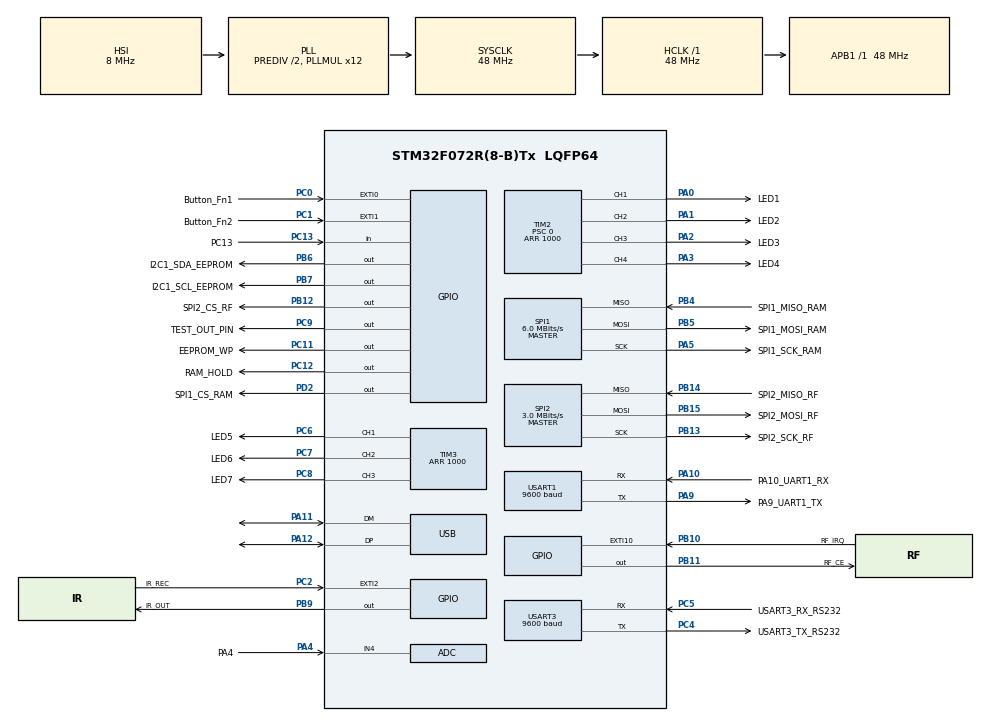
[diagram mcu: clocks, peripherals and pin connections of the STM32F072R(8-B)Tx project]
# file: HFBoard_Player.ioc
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Mcu.Family=STM32F0
Mcu.Name=STM32F072R(8-B)Tx
Mcu.Package=LQFP64
NVIC.EXTI0_1_IRQn=true\:3\:0\:true\:true\:true\:3
NVIC.EXTI2_3_IRQn=true\:0\:0\:true\:true\:true\:4
NVIC.EXTI4_15_IRQn=true\:2\:0\:true\:false\:true
NVIC.SPI2_IRQn=true\:0\:0\:false\:false\:true
NVIC.TIM16_IRQn=true\:1\:0\:true\:false\:true
NVIC.TIM17_IRQn=true\:3\:0\:true\:false\:true
NVIC.TIM6_DAC_IRQn=true\:0\:0\:true\:false\:true
NVIC.TIM7_IRQn=true\:3\:0\:true\:false\:true
NVIC.USART1_IRQn=true\:0\:0\:false\:true\:true\:2
NVIC.USART3_4_IRQn=true\:0\:0\:false\:true\:true\:1
NVIC.USB_IRQn=true\:0\:0\:false\:false\:true
PA0.GPIO_Label=LED1
PA0.Signal=S_TIM2_CH1_ETR
PA1.GPIO_Label=LED2
PA1.Signal=S_TIM2_CH2
PA10.GPIO_Label=PA10_UART1_RX
PA10.Mode=Asynchronous
PA10.Signal=USART1_RX
PA11.Mode=Device
PA11.Signal=USB_DM
PA12.Mode=Device
PA12.Signal=USB_DP
PA13.GPIO_Label=TMS
PA13.Signal=SYS_SWDIO
PA14.GPIO_Label=TCK
PA14.Signal=SYS_SWCLK
PA2.GPIO_Label=LED3
PA2.Signal=S_TIM2_CH3
PA3.GPIO_Label=LED4
PA3.Signal=S_TIM2_CH4
PA4.GPIO_Label=PA4
PA4.Mode=IN4
PA4.Signal=ADC_IN4
PA5.GPIO_Label=SPI1_SCK_RAM
PA5.Mode=Full_Duplex_Master
PA5.Signal=SPI1_SCK
PA6.GPIO_Label=USART3_CTS_RS232
PA6.Signal=USART3_CTS
PA9.GPIO_Label=PA9_UART1_TX
PA9.Mode=Asynchronous
PA9.Signal=USART1_TX
PB1.Signal=USART3_RTS
PB10.GPIO_Label=RF_IRQ
PB10.GPIO_ModeDefaultEXTI=GPIO_MODE_IT_FALLING
PB10.GPIO_PuPd=GPIO_PULLUP
PB10.Signal=GPXTI10
PB11.GPIO_Label=RF_CE
PB11.GPIO_PuPd=GPIO_PULLUP
PB11.GPIO_Speed=GPIO_SPEED_FREQ_HIGH
PB11.Signal=GPIO_Output
PB12.GPIO_Label=SPI2_CS_RF
PB12.GPIO_PuPd=GPIO_PULLUP
PB12.GPIO_Speed=GPIO_SPEED_FREQ_HIGH
PB12.PinState=GPIO_PIN_SET
PB12.Signal=GPIO_Output
PB13.GPIO_Label=SPI2_SCK_RF
PB13.GPIO_PuPd=GPIO_PULLUP
PB13.Mode=Full_Duplex_Master
PB13.Signal=SPI2_SCK
PB14.GPIO_Label=SPI2_MISO_RF
PB14.GPIO_PuPd=GPIO_PULLUP
PB14.Mode=Full_Duplex_Master
PB14.Signal=SPI2_MISO
PB15.GPIO_Label=SPI2_MOSI_RF
PB15.GPIO_PuPd=GPIO_PULLUP
PB15.Mode=Full_Duplex_Master
PB15.Signal=SPI2_MOSI
PB4.GPIO_Label=SPI1_MISO_RAM
PB4.Mode=Full_Duplex_Master
PB4.Signal=SPI1_MISO
PB5.GPIO_Label=SPI1_MOSI_RAM
PB5.Mode=Full_Duplex_Master
PB5.Signal=SPI1_MOSI
PB6.GPIO_Label=I2C1_SDA_EEPROM
PB6.GPIO_PuPd=GPIO_PULLUP
PB6.GPIO_Speed=GPIO_SPEED_FREQ_LOW
PB6.PinState=GPIO_PIN_SET
PB6.Signal=GPIO_Output
PB7.GPIO_Label=I2C1_SCL_EEPROM
PB7.GPIO_PuPd=GPIO_PULLUP
PB7.GPIO_Speed=GPIO_SPEED_FREQ_LOW
PB7.PinState=GPIO_PIN_SET
PB7.Signal=GPIO_Output
PB9.GPIO_Label=IR_OUT
PB9.GPIO_Speed=GPIO_SPEED_FREQ_HIGH
PB9.Signal=GPIO_Output
PC0.GPIO_Label=Button_Fn1
PC0.GPIO_ModeDefaultEXTI=GPIO_MODE_IT_RISING_FALLING
PC0.Signal=GPXTI0
PC1.GPIO_Label=Button_Fn2
PC1.GPIO_ModeDefaultEXTI=GPIO_MODE_IT_RISING_FALLING
PC1.Signal=GPXTI1
PC11.GPIO_Label=EEPROM_WP
PC11.Signal=GPIO_Output
PC12.GPIO_Label=RAM_HOLD
PC12.GPIO_ModeDefaultOutputPP=GPIO_MODE_OUTPUT_PP
PC12.GPIO_PuPd=GPIO_PULLUP
PC12.PinState=GPIO_PIN_SET
PC12.Signal=GPIO_Output
PC13.GPIO_Label=PC13
PC13.Signal=GPIO_Input
PC2.GPIO_Label=IR_REC
PC2.GPIO_ModeDefaultEXTI=GPIO_MODE_IT_RISING_FALLING
PC2.Signal=GPXTI2
PC4.GPIO_Label=USART3_TX_RS232
PC4.Mode=Asynchronous
PC4.Signal=USART3_TX
PC5.GPIO_Label=USART3_RX_RS232
PC5.Mode=Asynchronous
PC5.Signal=USART3_RX
PC6.GPIO_Label=LED5
PC6.Signal=S_TIM3_CH1
PC7.GPIO_Label=LED6
PC7.Signal=S_TIM3_CH2
PC8.GPIO_Label=LED7
PC8.Signal=S_TIM3_CH3
PC9.GPIO_Label=TEST_OUT_PIN
PC9.Signal=GPIO_Output
PD2.GPIO_Label=SPI1_CS_RAM
PD2.GPIO_PuPd=GPIO_PULLUP
PD2.GPIO_Speed=GPIO_SPEED_FREQ_HIGH
PD2.PinState=GPIO_PIN_SET
PD2.Signal=GPIO_Output
ProjectManager.HeapSize=0x200
ProjectManager.StackSize=0x400
ProjectManager.TargetToolchain=SW4STM32
RCC.AHBFreq_Value=48000000
RCC.APB1Freq_Value=48000000
RCC.APB1TimFreq_Value=48000000
RCC.FLatency-AdvancedSettings=FLASH_LATENCY_1
RCC.HCLKFreq_Value=48000000
RCC.PLLDivider=RCC_PREDIV_DIV2
RCC.PLLMUL=RCC_PLL_MUL12
RCC.SYSCLKFreq_VALUE=48000000
RCC.SYSCLKSource=RCC_SYSCLKSOURCE_PLLCLK
SH.S_TIM2_CH1_ETR.0=TIM2_CH1,PWM Generation1 CH1
SH.S_TIM2_CH2.0=TIM2_CH2,PWM Generation2 CH2
SH.S_TIM2_CH3.0=TIM2_CH3,PWM Generation3 CH3
SH.S_TIM2_CH4.0=TIM2_CH4,PWM Generation4 CH4
SH.S_TIM3_CH1.0=TIM3_CH1,PWM Generation1 CH1
SH.S_TIM3_CH2.0=TIM3_CH2,PWM Generation2 CH2
SH.S_TIM3_CH3.0=TIM3_CH3,PWM Generation3 CH3
SPI1.BaudRatePrescaler=SPI_BAUDRATEPRESCALER_8
SPI1.CalculateBaudRate=6.0 MBits/s
SPI1.DataSize=SPI_DATASIZE_8BIT
SPI1.Mode=SPI_MODE_MASTER
SPI2.BaudRatePrescaler=SPI_BAUDRATEPRESCALER_16
SPI2.CalculateBaudRate=3.0 MBits/s
SPI2.DataSize=SPI_DATASIZE_8BIT
SPI2.Mode=SPI_MODE_MASTER
SPI2.NSSPMode=SPI_NSS_PULSE_DISABLE
SPI2.TIMode=SPI_TIMODE_DISABLE
TIM16.Period=48000
TIM17.ClockDivision=TIM_CLOCKDIVISION_DIV1
TIM17.Period=48000
TIM2.Channel-PWM\ Generation2\ CH2=TIM_CHANNEL_2
TIM2.Channel-PWM\ Generation3\ CH3=TIM_CHANNEL_3
TIM2.Channel-PWM\ Generation4\ CH4=TIM_CHANNEL_4
TIM2.ClockDivision=TIM_CLOCKDIVISION_DIV1
TIM2.OCMode_PWM-PWM\ Generation1\ CH1=TIM_OCMODE_PWM1
TIM2.Period=1000
TIM2.Prescaler=0
TIM2.Pulse-PWM\ Generation1\ CH1=300
TIM2.Pulse-PWM\ Generation2\ CH2=500
TIM2.Pulse-PWM\ Generation3\ CH3=100
TIM2.Pulse-PWM\ Generation4\ CH4=800
TIM3.Channel-PWM\ Generation2\ CH2=TIM_CHANNEL_2
TIM3.Channel-PWM\ Generation3\ CH3=TIM_CHANNEL_3
TIM3.Period=1000
TIM3.Pulse-PWM\ Generation1\ CH1=300
TIM3.Pulse-PWM\ Generation2\ CH2=300
TIM3.Pulse-PWM\ Generation3\ CH3=30
TIM6.Period=632
TIM7.Period=2700
USART1.BaudRate=9600
USART1.WordLength=UART_WORDLENGTH_8B
USART3.BaudRate=9600
USART3.WordLength=UART_WORDLENGTH_8B
USB_DEVICE.CLASS_NAME_FS=CDC
USB_DEVICE.MANUFACTURER_STRING=HackFest2016
USB_DEVICE.PRODUCT_STRING_CDC_FS=01234567890123456789
USB_DEVICE.USBD_HandleTypeDef=hUsbDeviceFS
USB_DEVICE.VirtualMode=Cdc
USB_DEVICE.VirtualModeFS=Cdc_FS
VP_TIM16_VS_ClockSourceINT.Mode=Enable_Timer
VP_TIM17_VS_ClockSourceINT.Mode=Enable_Timer
VP_TIM6_VS_ClockSourceINT.Mode=Enable_Timer
VP_TIM7_VS_ClockSourceINT.Mode=Enable_Timer
VP_USB_DEVICE_VS_USB_DEVICE_CDC_FS.Mode=CDC_FS
board=NUCLEO-F072RB

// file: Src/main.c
/**
  ******************************************************************************
  * File Name          : main.c
  * Description        : Main program body
  ******************************************************************************
  *
  * Copyright (c) 2016 STMicroelectronics International N.V.
  * All rights reserved.
  *
  * Redistribution and use in source and binary forms, with or without
  * modification, are permitted, provided that the following conditions are met:
  *
  * 1. Redistribution of source code must retain the above copyright notice,
  *    this list of conditions and the following disclaimer.
  * 2. Redistributions in binary form must reproduce the above copyright notice,
  *    this list of conditions and the following disclaimer in the documentation
  *    and/or other materials provided with the distribution.
  * 3. Neither the name of STMicroelectronics nor the names of other
  *    contributors to this software may be used to endorse or promote products
  *    derived from this software without specific written permission.
  * 4. This software, including modifications and/or derivative works of this
  *    software, must execute solely and exclusively on microcontroller or
  *    microprocessor devices manufactured by or for STMicroelectronics.
  * 5. Redistribution and use of this software other than as permitted under
  *    this license is void and will automatically terminate your rights under
  *    this license.
  *
  * THIS SOFTWARE IS PROVIDED BY STMICROELECTRONICS AND CONTRIBUTORS "AS IS"
  * AND ANY EXPRESS, IMPLIED OR STATUTORY WARRANTIES, INCLUDING, BUT NOT
  * LIMITED TO, THE IMPLIED WARRANTIES OF MERCHANTABILITY, FITNESS FOR A
  * PARTICULAR PURPOSE AND NON-INFRINGEMENT OF THIRD PARTY INTELLECTUAL PROPERTY
  * RIGHTS ARE DISCLAIMED TO THE FULLEST EXTENT PERMITTED BY LAW. IN NO EVENT
  * SHALL STMICROELECTRONICS OR CONTRIBUTORS BE LIABLE FOR ANY DIRECT, INDIRECT,
  * INCIDENTAL, SPECIAL, EXEMPLARY, OR CONSEQUENTIAL DAMAGES (INCLUDING, BUT NOT
  * LIMITED TO, PROCUREMENT OF SUBSTITUTE GOODS OR SERVICES; LOSS OF USE, DATA,
  * OR PROFITS; OR BUSINESS INTERRUPTION) HOWEVER CAUSED AND ON ANY THEORY OF
  * LIABILITY, WHETHER IN CONTRACT, STRICT LIABILITY, OR TORT (INCLUDING
  * NEGLIGENCE OR OTHERWISE) ARISING IN ANY WAY OUT OF THE USE OF THIS SOFTWARE,
  * EVEN IF ADVISED OF THE POSSIBILITY OF SUCH DAMAGE.
  *
  ******************************************************************************
  */
#include "main.h"
#include "stm32f0xx_hal.h"
#include "usb_device.h"

/* USER CODE BEGIN Includes */
#include "nRF24L01.h"
#include "string.h"
#include "usbd_cdc_if.h"

#include "HF_timer_service.h"
#include "HF_I2C_Software.h"
#include "HF_leds.h"
#include "HF_print.h"
#include "HF_shell.h"
#include "HF_button.h"

/* USER CODE END Includes */

ADC_HandleTypeDef hadc;

SPI_HandleTypeDef hspi1;
SPI_HandleTypeDef hspi2;

TIM_HandleTypeDef htim2;
TIM_HandleTypeDef htim3;
TIM_HandleTypeDef htim6;
TIM_HandleTypeDef htim7;
TIM_HandleTypeDef htim16;
TIM_HandleTypeDef htim17;

UART_HandleTypeDef huart1;
UART_HandleTypeDef huart3;

/* USER CODE BEGIN PV */
/* Private variables ---------------------------------------------------------*/

/* USER CODE END PV */

void SystemClock_Config(void);
void Error_Handler(void);
static void MX_GPIO_Init(void);
static void MX_SPI2_Init(void);
static void MX_TIM2_Init(void);
static void MX_TIM3_Init(void);
static void MX_USART3_UART_Init(void);
static void MX_USART1_UART_Init(void);
static void MX_ADC_Init(void);
static void MX_TIM17_Init(void);
static void MX_TIM16_Init(void);
static void MX_SPI1_Init(void);
static void MX_TIM7_Init(void);
static void MX_TIM6_Init(void);
static void MX_NVIC_Init(void);

void HAL_TIM_MspPostInit(TIM_HandleTypeDef *htim);

/* USER CODE BEGIN PFP */
/* Private function prototypes -----------------------------------------------*/

char dataOut[32];
uint32_t len;

extern LED_PATTERN_NAME LED_RUNNING_PATTERN;

/* USER CODE END PFP */

/* USER CODE BEGIN 0 */

void HAL_UART_RxCpltCallback(UART_HandleTypeDef *huart) {
	uart_callback(huart);
}

void HAL_GPIO_EXTI_Callback(uint16_t GPIO_Pin) {
	exti_callback(GPIO_Pin);
}

//rhythme
void HAL_TIM_PeriodElapsedCallback(TIM_HandleTypeDef *htim) {
	timer_callback(htim);
}

/* USER CODE END 0 */

int main(void)
{

  /* MCU Configuration----------------------------------------------------------*/

  /* Reset of all peripherals, Initializes the Flash interface and the Systick. */
  HAL_Init();

  /* Configure the system clock */
  SystemClock_Config();

  /* Initialize all configured peripherals */
  MX_GPIO_Init();
  MX_SPI2_Init();
  MX_TIM2_Init();
  MX_TIM3_Init();
  MX_USART3_UART_Init();
  MX_USART1_UART_Init();
  MX_ADC_Init();
  MX_TIM17_Init();
  MX_TIM16_Init();
  MX_USB_DEVICE_Init();
  MX_SPI1_Init();
  MX_TIM7_Init();
  MX_TIM6_Init();

  /* Initialize interrupts */
  MX_NVIC_Init();

  /* USER CODE BEGIN 2 */

  	//PWM LED 1, LED 2, LED 3, LED4
	HAL_TIM_Base_Start(&htim2);

	HAL_TIM_PWM_Start(&htim2, TIM_CHANNEL_1);
	HAL_TIM_PWM_Start(&htim2, TIM_CHANNEL_2);
	HAL_TIM_PWM_Start(&htim2, TIM_CHANNEL_3);
	HAL_TIM_PWM_Start(&htim2, TIM_CHANNEL_4);
	//PWM LED 5, LED 6, LED 7
	HAL_TIM_Base_Start(&htim3);

	HAL_TIM_PWM_Start(&htim3, TIM_CHANNEL_1);
	HAL_TIM_PWM_Start(&htim3, TIM_CHANNEL_2);
	HAL_TIM_PWM_Start(&htim3, TIM_CHANNEL_3);

	HAL_TIM_Base_Start_IT(&htim17);
	HAL_TIM_Base_Start_IT(&htim16);

	HAL_TIM_Base_Start_IT(&htim7);
	//HAL_TIM_Base_Start_IT(&htim6);	//Active automatiquement au moment send IR code

	init_uart();
//	init_ram();
	ram_23k640_init();
	HfButtonInit();
	init_led_patterns();
	init_flag_on_rom();
	init_flag_on_ram();
	init_wifi();
	print_on_start();
	LED_RUNNING_PATTERN = INFINITY;

	systemTimerServiceSetTimer(HF_led_timer, HF_TIMER_MILLISECOND_AUTO_RESET, 50);
	systemTimerServiceSetTimer(HF_msg_timer, HF_TIMER_MILLISECOND_AUTO_RESET, 5);
	systemTimerServiceSetTimer(HF_sendwifi_timer, HF_TIMER_MILLISECOND_AUTO_RESET, 5*60*1000); // Every 5 minutes
	systemTimerServiceSetTimer(HF_writeram_timer, HF_TIMER_MILLISECOND_AUTO_RESET, 3000); // Every 3 second

	//generate_flags();
    hf_print_all("hfboard>");
  /* USER CODE END 2 */

  /* Infinite loop */
  /* USER CODE BEGIN WHILE */
	while (1) {
		if (systemTimerServiceCheckEnd(HF_led_timer) == 0) {
			run_led(LED_RUNNING_PATTERN);
		}

		if (systemTimerServiceCheckEnd(HF_msg_timer) == 0) {
			handle_incoming_message();
		}

		if (systemTimerServiceCheckEnd(HF_sendwifi_timer) == 0) {
			send_wifi_flag();
		}

		if (systemTimerServiceCheckEnd(HF_writeram_timer) == 0) {
			write_erase_ram_flag();
		}

		HfButtonProcess();

  /* USER CODE END WHILE */

	}

}

/** System Clock Configuration
*/
void SystemClock_Config(void)
{

  RCC_OscInitTypeDef RCC_OscInitStruct;
  RCC_ClkInitTypeDef RCC_ClkInitStruct;
  RCC_PeriphCLKInitTypeDef PeriphClkInit;

    /**Initializes the CPU, AHB and APB busses clocks
    */
  RCC_OscInitStruct.OscillatorType = RCC_OSCILLATORTYPE_HSI|RCC_OSCILLATORTYPE_HSI14
                              |RCC_OSCILLATORTYPE_HSI48;
  RCC_OscInitStruct.HSIState = RCC_HSI_ON;
  RCC_OscInitStruct.HSI48State = RCC_HSI48_ON;
  RCC_OscInitStruct.HSI14State = RCC_HSI14_ON;
  RCC_OscInitStruct.HSICalibrationValue = 16;
  RCC_OscInitStruct.HSI14CalibrationValue = 16;
  RCC_OscInitStruct.PLL.PLLState = RCC_PLL_ON;
  RCC_OscInitStruct.PLL.PLLSource = RCC_PLLSOURCE_HSI;
  RCC_OscInitStruct.PLL.PLLMUL = RCC_PLL_MUL12;
  RCC_OscInitStruct.PLL.PREDIV = RCC_PREDIV_DIV2;
  if (HAL_RCC_OscConfig(&RCC_OscInitStruct) != HAL_OK)
  {
    Error_Handler();
  }

    /**Initializes the CPU, AHB and APB busses clocks
    */
  RCC_ClkInitStruct.ClockType = RCC_CLOCKTYPE_HCLK|RCC_CLOCKTYPE_SYSCLK
                              |RCC_CLOCKTYPE_PCLK1;
  RCC_ClkInitStruct.SYSCLKSource = RCC_SYSCLKSOURCE_PLLCLK;
  RCC_ClkInitStruct.AHBCLKDivider = RCC_SYSCLK_DIV1;
  RCC_ClkInitStruct.APB1CLKDivider = RCC_HCLK_DIV1;

  if (HAL_RCC_ClockConfig(&RCC_ClkInitStruct, FLASH_LATENCY_1) != HAL_OK)
  {
    Error_Handler();
  }

  PeriphClkInit.PeriphClockSelection = RCC_PERIPHCLK_USB|RCC_PERIPHCLK_USART1;
  PeriphClkInit.Usart1ClockSelection = RCC_USART1CLKSOURCE_PCLK1;
  PeriphClkInit.UsbClockSelection = RCC_USBCLKSOURCE_HSI48;

  if (HAL_RCCEx_PeriphCLKConfig(&PeriphClkInit) != HAL_OK)
  {
    Error_Handler();
  }

    /**Configure the Systick interrupt time
    */
  HAL_SYSTICK_Config(HAL_RCC_GetHCLKFreq()/1000);

    /**Configure the Systick
    */
  HAL_SYSTICK_CLKSourceConfig(SYSTICK_CLKSOURCE_HCLK);

  /* SysTick_IRQn interrupt configuration */
  HAL_NVIC_SetPriority(SysTick_IRQn, 0, 0);
}

/** NVIC Configuration
*/
static void MX_NVIC_Init(void)
{
  /* USART3_4_IRQn interrupt configuration */
  HAL_NVIC_SetPriority(USART3_4_IRQn, 0, 0);
  HAL_NVIC_EnableIRQ(USART3_4_IRQn);
  /* USART1_IRQn interrupt configuration */
  HAL_NVIC_SetPriority(USART1_IRQn, 0, 0);
  HAL_NVIC_EnableIRQ(USART1_IRQn);
  /* EXTI0_1_IRQn interrupt configuration */
  HAL_NVIC_SetPriority(EXTI0_1_IRQn, 3, 0);
  HAL_NVIC_EnableIRQ(EXTI0_1_IRQn);
  /* EXTI2_3_IRQn interrupt configuration */
  HAL_NVIC_SetPriority(EXTI2_3_IRQn, 0, 0);
  HAL_NVIC_EnableIRQ(EXTI2_3_IRQn);
}

/* ADC init function */
static void MX_ADC_Init(void)
{

  ADC_ChannelConfTypeDef sConfig;

    /**Configure the global features of the ADC (Clock, Resolution, Data Alignment and number of conversion)
    */
  hadc.Instance = ADC1;
  hadc.Init.ClockPrescaler = ADC_CLOCK_ASYNC_DIV1;
  hadc.Init.Resolution = ADC_RESOLUTION_12B;
  hadc.Init.DataAlign = ADC_DATAALIGN_RIGHT;
  hadc.Init.ScanConvMode = ADC_SCAN_DIRECTION_FORWARD;
  hadc.Init.EOCSelection = ADC_EOC_SINGLE_CONV;
  hadc.Init.LowPowerAutoWait = DISABLE;
  hadc.Init.LowPowerAutoPowerOff = DISABLE;
  hadc.Init.ContinuousConvMode = DISABLE;
  hadc.Init.DiscontinuousConvMode = DISABLE;
  hadc.Init.ExternalTrigConvEdge = ADC_EXTERNALTRIGCONVEDGE_NONE;
  hadc.Init.DMAContinuousRequests = DISABLE;
  hadc.Init.Overrun = ADC_OVR_DATA_PRESERVED;
  if (HAL_ADC_Init(&hadc) != HAL_OK)
  {
    Error_Handler();
  }

    /**Configure for the selected ADC regular channel to be converted.
    */
  sConfig.Channel = ADC_CHANNEL_4;
  sConfig.Rank = ADC_RANK_CHANNEL_NUMBER;
  sConfig.SamplingTime = ADC_SAMPLETIME_1CYCLE_5;
  if (HAL_ADC_ConfigChannel(&hadc, &sConfig) != HAL_OK)
  {
    Error_Handler();
  }

}

/* SPI1 init function */
static void MX_SPI1_Init(void)
{

  hspi1.Instance = SPI1;
  hspi1.Init.Mode = SPI_MODE_MASTER;
  hspi1.Init.Direction = SPI_DIRECTION_2LINES;
  hspi1.Init.DataSize = SPI_DATASIZE_8BIT;
  hspi1.Init.CLKPolarity = SPI_POLARITY_LOW;
  hspi1.Init.CLKPhase = SPI_PHASE_1EDGE;
  hspi1.Init.NSS = SPI_NSS_SOFT;
  hspi1.Init.BaudRatePrescaler = SPI_BAUDRATEPRESCALER_8;
  hspi1.Init.FirstBit = SPI_FIRSTBIT_MSB;
  hspi1.Init.TIMode = SPI_TIMODE_DISABLE;
  hspi1.Init.CRCCalculation = SPI_CRCCALCULATION_DISABLE;
  hspi1.Init.CRCPolynomial = 7;
  hspi1.Init.CRCLength = SPI_CRC_LENGTH_DATASIZE;
  hspi1.Init.NSSPMode = SPI_NSS_PULSE_ENABLE;
  if (HAL_SPI_Init(&hspi1) != HAL_OK)
  {
    Error_Handler();
  }

}

/* SPI2 init function */
static void MX_SPI2_Init(void)
{

  hspi2.Instance = SPI2;
  hspi2.Init.Mode = SPI_MODE_MASTER;
  hspi2.Init.Direction = SPI_DIRECTION_2LINES;
  hspi2.Init.DataSize = SPI_DATASIZE_8BIT;
  hspi2.Init.CLKPolarity = SPI_POLARITY_LOW;
  hspi2.Init.CLKPhase = SPI_PHASE_1EDGE;
  hspi2.Init.NSS = SPI_NSS_SOFT;
  hspi2.Init.BaudRatePrescaler = SPI_BAUDRATEPRESCALER_16;
  hspi2.Init.FirstBit = SPI_FIRSTBIT_MSB;
  hspi2.Init.TIMode = SPI_TIMODE_DISABLE;
  hspi2.Init.CRCCalculation = SPI_CRCCALCULATION_DISABLE;
  hspi2.Init.CRCPolynomial = 7;
  hspi2.Init.CRCLength = SPI_CRC_LENGTH_DATASIZE;
  hspi2.Init.NSSPMode = SPI_NSS_PULSE_DISABLE;
  if (HAL_SPI_Init(&hspi2) != HAL_OK)
  {
    Error_Handler();
  }

}

/* TIM2 init function */
static void MX_TIM2_Init(void)
{

  TIM_MasterConfigTypeDef sMasterConfig;
  TIM_OC_InitTypeDef sConfigOC;

  htim2.Instance = TIM2;
  htim2.Init.Prescaler = 0;
  htim2.Init.CounterMode = TIM_COUNTERMODE_UP;
  htim2.Init.Period = 1000;
  htim2.Init.ClockDivision = TIM_CLOCKDIVISION_DIV1;
  if (HAL_TIM_PWM_Init(&htim2) != HAL_OK)
  {
    Error_Handler();
  }

  sMasterConfig.MasterOutputTrigger = TIM_TRGO_RESET;
  sMasterConfig.MasterSlaveMode = TIM_MASTERSLAVEMODE_DISABLE;
  if (HAL_TIMEx_MasterConfigSynchronization(&htim2, &sMasterConfig) != HAL_OK)
  {
    Error_Handler();
  }

  sConfigOC.OCMode = TIM_OCMODE_PWM1;
  sConfigOC.Pulse = 300;
  sConfigOC.OCPolarity = TIM_OCPOLARITY_HIGH;
  sConfigOC.OCFastMode = TIM_OCFAST_DISABLE;
  if (HAL_TIM_PWM_ConfigChannel(&htim2, &sConfigOC, TIM_CHANNEL_1) != HAL_OK)
  {
    Error_Handler();
  }

  sConfigOC.Pulse = 500;
  if (HAL_TIM_PWM_ConfigChannel(&htim2, &sConfigOC, TIM_CHANNEL_2) != HAL_OK)
  {
    Error_Handler();
  }

  sConfigOC.Pulse = 100;
  if (HAL_TIM_PWM_ConfigChannel(&htim2, &sConfigOC, TIM_CHANNEL_3) != HAL_OK)
  {
    Error_Handler();
  }

  sConfigOC.Pulse = 800;
  if (HAL_TIM_PWM_ConfigChannel(&htim2, &sConfigOC, TIM_CHANNEL_4) != HAL_OK)
  {
    Error_Handler();
  }

  HAL_TIM_MspPostInit(&htim2);

}

/* TIM3 init function */
static void MX_TIM3_Init(void)
{

  TIM_MasterConfigTypeDef sMasterConfig;
  TIM_OC_InitTypeDef sConfigOC;

  htim3.Instance = TIM3;
  htim3.Init.Prescaler = 0;
  htim3.Init.CounterMode = TIM_COUNTERMODE_UP;
  htim3.Init.Period = 1000;
  htim3.Init.ClockDivision = TIM_CLOCKDIVISION_DIV1;
  if (HAL_TIM_PWM_Init(&htim3) != HAL_OK)
  {
    Error_Handler();
  }

  sMasterConfig.MasterOutputTrigger = TIM_TRGO_RESET;
  sMasterConfig.MasterSlaveMode = TIM_MASTERSLAVEMODE_DISABLE;
  if (HAL_TIMEx_MasterConfigSynchronization(&htim3, &sMasterConfig) != HAL_OK)
  {
    Error_Handler();
  }

  sConfigOC.OCMode = TIM_OCMODE_PWM1;
  sConfigOC.Pulse = 300;
  sConfigOC.OCPolarity = TIM_OCPOLARITY_HIGH;
  sConfigOC.OCFastMode = TIM_OCFAST_DISABLE;
  if (HAL_TIM_PWM_ConfigChannel(&htim3, &sConfigOC, TIM_CHANNEL_1) != HAL_OK)
  {
    Error_Handler();
  }

  if (HAL_TIM_PWM_ConfigChannel(&htim3, &sConfigOC, TIM_CHANNEL_2) != HAL_OK)
  {
    Error_Handler();
  }

  sConfigOC.Pulse = 30;
  if (HAL_TIM_PWM_ConfigChannel(&htim3, &sConfigOC, TIM_CHANNEL_3) != HAL_OK)
  {
    Error_Handler();
  }

  HAL_TIM_MspPostInit(&htim3);

}

/* TIM6 init function */
static void MX_TIM6_Init(void)
{

  TIM_MasterConfigTypeDef sMasterConfig;

  htim6.Instance = TIM6;
  htim6.Init.Prescaler = 0;
  htim6.Init.CounterMode = TIM_COUNTERMODE_UP;
  htim6.Init.Period = 632;
  if (HAL_TIM_Base_Init(&htim6) != HAL_OK)
  {
    Error_Handler();
  }

  sMasterConfig.MasterOutputTrigger = TIM_TRGO_RESET;
  sMasterConfig.MasterSlaveMode = TIM_MASTERSLAVEMODE_DISABLE;
  if (HAL_TIMEx_MasterConfigSynchronization(&htim6, &sMasterConfig) != HAL_OK)
  {
    Error_Handler();
  }

}

/* TIM7 init function */
static void MX_TIM7_Init(void)
{

  TIM_MasterConfigTypeDef sMasterConfig;

  htim7.Instance = TIM7;
  htim7.Init.Prescaler = 0;
  htim7.Init.CounterMode = TIM_COUNTERMODE_UP;
  htim7.Init.Period = 2700;
  if (HAL_TIM_Base_Init(&htim7) != HAL_OK)
  {
    Error_Handler();
  }

  sMasterConfig.MasterOutputTrigger = TIM_TRGO_RESET;
  sMasterConfig.MasterSlaveMode = TIM_MASTERSLAVEMODE_DISABLE;
  if (HAL_TIMEx_MasterConfigSynchronization(&htim7, &sMasterConfig) != HAL_OK)
  {
    Error_Handler();
  }

}

/* TIM16 init function */
static void MX_TIM16_Init(void)
{

  htim16.Instance = TIM16;
  htim16.Init.Prescaler = 0;
  htim16.Init.CounterMode = TIM_COUNTERMODE_UP;
  htim16.Init.Period = 48000;
  htim16.Init.ClockDivision = TIM_CLOCKDIVISION_DIV1;
  htim16.Init.RepetitionCounter = 0;
  if (HAL_TIM_Base_Init(&htim16) != HAL_OK)
  {
    Error_Handler();
  }

}

/* TIM17 init function */
static void MX_TIM17_Init(void)
{

  htim17.Instance = TIM17;
  htim17.Init.Prescaler = 0;
  htim17.Init.CounterMode = TIM_COUNTERMODE_UP;
  htim17.Init.Period = 48000;
  htim17.Init.ClockDivision = TIM_CLOCKDIVISION_DIV1;
  htim17.Init.RepetitionCounter = 0;
  if (HAL_TIM_Base_Init(&htim17) != HAL_OK)
  {
    Error_Handler();
  }

}

/* USART1 init function */
static void MX_USART1_UART_Init(void)
{

  huart1.Instance = USART1;
  huart1.Init.BaudRate = 9600;
  huart1.Init.WordLength = UART_WORDLENGTH_8B;
  huart1.Init.StopBits = UART_STOPBITS_1;
  huart1.Init.Parity = UART_PARITY_NONE;
  huart1.Init.Mode = UART_MODE_TX_RX;
  huart1.Init.HwFlowCtl = UART_HWCONTROL_NONE;
  huart1.Init.OverSampling = UART_OVERSAMPLING_16;
  huart1.Init.OneBitSampling = UART_ONE_BIT_SAMPLE_DISABLE;
  huart1.AdvancedInit.AdvFeatureInit = UART_ADVFEATURE_NO_INIT;
  if (HAL_UART_Init(&huart1) != HAL_OK)
  {
    Error_Handler();
  }

}

/* USART3 init function */
static void MX_USART3_UART_Init(void)
{

  huart3.Instance = USART3;
  huart3.Init.BaudRate = 9600;
  huart3.Init.WordLength = UART_WORDLENGTH_8B;
  huart3.Init.StopBits = UART_STOPBITS_1;
  huart3.Init.Parity = UART_PARITY_NONE;
  huart3.Init.Mode = UART_MODE_TX_RX;
  huart3.Init.HwFlowCtl = UART_HWCONTROL_NONE;
  huart3.Init.OverSampling = UART_OVERSAMPLING_16;
  huart3.Init.OneBitSampling = UART_ONE_BIT_SAMPLE_DISABLE;
  huart3.AdvancedInit.AdvFeatureInit = UART_ADVFEATURE_NO_INIT;
  if (HAL_UART_Init(&huart3) != HAL_OK)
  {
    Error_Handler();
  }

}

/** Configure pins as
        * Analog
        * Input
        * Output
        * EVENT_OUT
        * EXTI
*/
static void MX_GPIO_Init(void)
{

  GPIO_InitTypeDef GPIO_InitStruct;

  /* GPIO Ports Clock Enable */
  __HAL_RCC_GPIOC_CLK_ENABLE();
  __HAL_RCC_GPIOA_CLK_ENABLE();
  __HAL_RCC_GPIOB_CLK_ENABLE();
  __HAL_RCC_GPIOD_CLK_ENABLE();

  /*Configure GPIO pin : PC13_Pin */
  GPIO_InitStruct.Pin = PC13_Pin;
  GPIO_InitStruct.Mode = GPIO_MODE_INPUT;
  GPIO_InitStruct.Pull = GPIO_NOPULL;
  HAL_GPIO_Init(PC13_GPIO_Port, &GPIO_InitStruct);

  /*Configure GPIO pins : Button_Fn1_Pin Button_Fn2_Pin IR_REC_Pin */
  GPIO_InitStruct.Pin = Button_Fn1_Pin|Button_Fn2_Pin|IR_REC_Pin;
  GPIO_InitStruct.Mode = GPIO_MODE_IT_RISING_FALLING;
  GPIO_InitStruct.Pull = GPIO_NOPULL;
  HAL_GPIO_Init(GPIOC, &GPIO_InitStruct);

  /*Configure GPIO pin : RF_IRQ_Pin */
  GPIO_InitStruct.Pin = RF_IRQ_Pin;
  GPIO_InitStruct.Mode = GPIO_MODE_IT_FALLING;
  GPIO_InitStruct.Pull = GPIO_PULLUP;
  HAL_GPIO_Init(RF_IRQ_GPIO_Port, &GPIO_InitStruct);

  /*Configure GPIO pins : RF_CE_Pin SPI2_CS_RF_Pin */
  GPIO_InitStruct.Pin = RF_CE_Pin|SPI2_CS_RF_Pin;
  GPIO_InitStruct.Mode = GPIO_MODE_OUTPUT_PP;
  GPIO_InitStruct.Pull = GPIO_PULLUP;
  GPIO_InitStruct.Speed = GPIO_SPEED_FREQ_HIGH;
  HAL_GPIO_Init(GPIOB, &GPIO_InitStruct);

  /*Configure GPIO pins : TEST_OUT_PIN_Pin EEPROM_WP_Pin */
  GPIO_InitStruct.Pin = TEST_OUT_PIN_Pin|EEPROM_WP_Pin;
  GPIO_InitStruct.Mode = GPIO_MODE_OUTPUT_PP;
  GPIO_InitStruct.Pull = GPIO_NOPULL;
  GPIO_InitStruct.Speed = GPIO_SPEED_FREQ_LOW;
  HAL_GPIO_Init(GPIOC, &GPIO_InitStruct);

  /*Configure GPIO pin : RAM_HOLD_Pin */
  GPIO_InitStruct.Pin = RAM_HOLD_Pin;
  GPIO_InitStruct.Mode = GPIO_MODE_OUTPUT_PP;
  GPIO_InitStruct.Pull = GPIO_PULLUP;
  GPIO_InitStruct.Speed = GPIO_SPEED_FREQ_LOW;
  HAL_GPIO_Init(RAM_HOLD_GPIO_Port, &GPIO_InitStruct);

  /*Configure GPIO pin : SPI1_CS_RAM_Pin */
  GPIO_InitStruct.Pin = SPI1_CS_RAM_Pin;
  GPIO_InitStruct.Mode = GPIO_MODE_OUTPUT_PP;
  GPIO_InitStruct.Pull = GPIO_PULLUP;
  GPIO_InitStruct.Speed = GPIO_SPEED_FREQ_HIGH;
  HAL_GPIO_Init(SPI1_CS_RAM_GPIO_Port, &GPIO_InitStruct);

  /*Configure GPIO pins : I2C1_SDA_EEPROM_Pin I2C1_SCL_EEPROM_Pin */
  GPIO_InitStruct.Pin = I2C1_SDA_EEPROM_Pin|I2C1_SCL_EEPROM_Pin;
  GPIO_InitStruct.Mode = GPIO_MODE_OUTPUT_PP;
  GPIO_InitStruct.Pull = GPIO_PULLUP;
  GPIO_InitStruct.Speed = GPIO_SPEED_FREQ_LOW;
  HAL_GPIO_Init(GPIOB, &GPIO_InitStruct);

  /*Configure GPIO pin : IR_OUT_Pin */
  GPIO_InitStruct.Pin = IR_OUT_Pin;
  GPIO_InitStruct.Mode = GPIO_MODE_OUTPUT_PP;
  GPIO_InitStruct.Pull = GPIO_NOPULL;
  GPIO_InitStruct.Speed = GPIO_SPEED_FREQ_HIGH;
  HAL_GPIO_Init(IR_OUT_GPIO_Port, &GPIO_InitStruct);

  /*Configure GPIO pin Output Level */
  HAL_GPIO_WritePin(GPIOB, RF_CE_Pin|IR_OUT_Pin, GPIO_PIN_RESET);

  /*Configure GPIO pin Output Level */
  HAL_GPIO_WritePin(GPIOB, SPI2_CS_RF_Pin|I2C1_SDA_EEPROM_Pin|I2C1_SCL_EEPROM_Pin, GPIO_PIN_SET);

  /*Configure GPIO pin Output Level */
  HAL_GPIO_WritePin(GPIOC, TEST_OUT_PIN_Pin|EEPROM_WP_Pin, GPIO_PIN_RESET);

  /*Configure GPIO pin Output Level */
  HAL_GPIO_WritePin(RAM_HOLD_GPIO_Port, RAM_HOLD_Pin, GPIO_PIN_SET);

  /*Configure GPIO pin Output Level */
  HAL_GPIO_WritePin(SPI1_CS_RAM_GPIO_Port, SPI1_CS_RAM_Pin, GPIO_PIN_SET);

  /* EXTI interrupt init*/
  HAL_NVIC_SetPriority(EXTI4_15_IRQn, 2, 0);
  HAL_NVIC_EnableIRQ(EXTI4_15_IRQn);

}

void Error_Handler(void)
{
  while(1)
  {
  }
}

/************************ (C) COPYRIGHT STMicroelectronics *****END OF FILE****/
